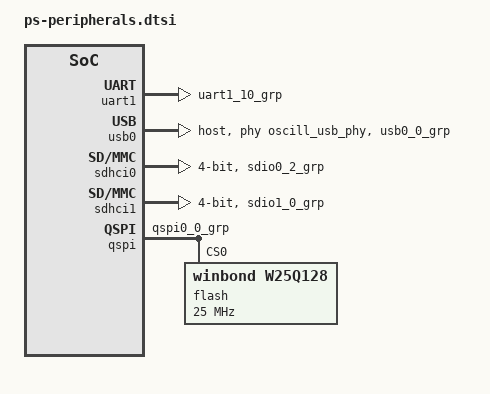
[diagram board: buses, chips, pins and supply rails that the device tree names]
/* Fragment for linux-xlnx zynq-7000.dtsi; PS settings must match the handoff. */
&gpio0 { #address-cells = <0>; };
&intc { #address-cells = <0>; };
&uart1 {
    status = "okay";
    pinctrl-names = "default";
    pinctrl-0 = <&oscill_uart1_pins>;
};
&usb0 {
    status = "okay";
    dr_mode = "host";
    phy_type = "ulpi";
    usb-phy = <&oscill_usb_phy>;
    pinctrl-names = "default";
    pinctrl-0 = <&oscill_usb0_pins>;
};
&sdhci0 {
    status = "okay";
    bus-width = <4>;
    disable-wp;
    broken-cd;
    pinctrl-names = "default";
    pinctrl-0 = <&oscill_sd0_pins>;
};
&sdhci1 {
    status = "okay";
    bus-width = <4>;
    disable-wp;
    broken-cd;
    pinctrl-names = "default";
    pinctrl-0 = <&oscill_sd1_pins>;
};
&qspi {
    status = "okay";
    pinctrl-names = "default";
    pinctrl-0 = <&oscill_qspi_pins>;
    flash@0 {
        compatible = "winbond,w25q128", "jedec,spi-nor";
        reg = <0>;
        spi-max-frequency = <25000000>; /* Conservative bring-up limit. */
        spi-rx-bus-width = <4>;
        spi-tx-bus-width = <1>;
    };
};
&pinctrl0 {
    oscill_uart1_pins: uart1-default { mux { groups = "uart1_10_grp"; function = "uart1"; }; };
    oscill_usb0_pins: usb0-default { mux { groups = "usb0_0_grp"; function = "usb0"; }; };
    oscill_sd0_pins: sd0-default { mux { groups = "sdio0_2_grp"; function = "sdio0"; }; };
    oscill_sd1_pins: sd1-default { mux { groups = "sdio1_0_grp"; function = "sdio1"; }; };
    oscill_qspi_pins: qspi-default { mux { groups = "qspi0_0_grp"; function = "qspi0"; }; };
};
/ {
    /* Reset on MIO46 is pulsed by the matching FSBL ps7_init. */
    oscill_usb_phy: phy@e0002000 {
        compatible = "ulpi-phy";
        reg = <0xe0002000 0x1000>;
        #phy-cells = <0>;
        view-port = <0x170>;
        drv-vbus;
    };
};
